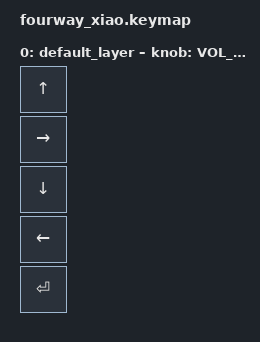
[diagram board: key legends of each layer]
#include <behaviors.dtsi>
#include <dt-bindings/zmk/keys.h>

/ {
    keymap {
        compatible = "zmk,keymap";

        default_layer {
            /* A, B, C, D, Push */
            bindings = <
                &kp UP
                &kp RIGHT
                &kp DOWN
                &kp LEFT
                &kp ENTER
            >;
            sensor-bindings = <&inc_dec_kp C_VOL_UP C_VOL_DN>;
        };
    };
};
